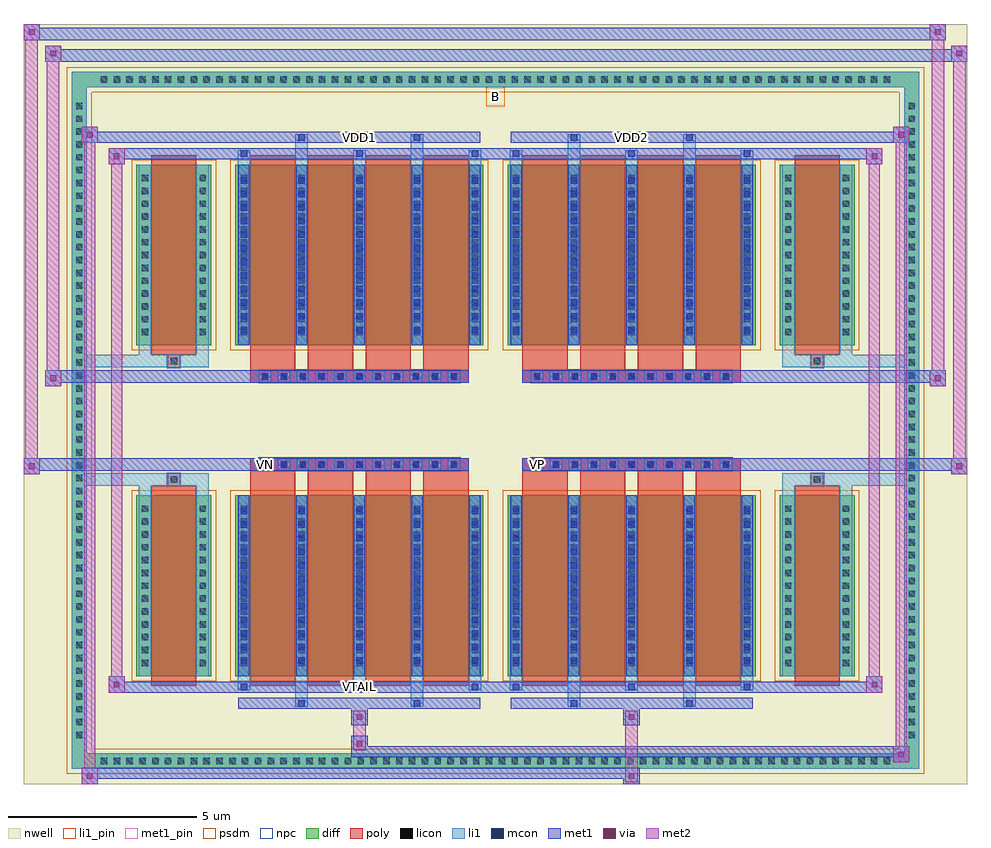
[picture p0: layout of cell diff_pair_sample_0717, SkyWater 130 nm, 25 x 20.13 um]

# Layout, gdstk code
import gdstk
lib = gdstk.Library(unit=1e-6, precision=5e-09)
def R(c, l, rs):  # rectangles x0, y0, x1, y1
    for r in rs: c.add(gdstk.rectangle(r[:2], r[2:], *l))
def A(c, l, x, y, w, h, nx, ny, dx, dy):  # array of equal rectangles
    R(c, l, [(x+i*dx, y+j*dy, x+i*dx+w, y+j*dy+h) for i in range(nx) for j in range(ny)])
def P(c, l, *ps):  # polygons
    for p in ps: c.add(gdstk.Polygon(p, *l))
nwell = (64, 20)
diff = (65, 20)
poly = (66, 20)
licon = (66, 44)
li1_pin = (67, 16)
li1 = (67, 20)
mcon = (67, 44)
met1_pin = (68, 16)
met1 = (68, 20)
via = (68, 44)
met2 = (69, 20)
psdm = (94, 20)
npc = (95, 20)

diff_pair_sample_0717 = lib.new_cell('diff_pair_sample_0717')
R(diff_pair_sample_0717, nwell, [(-12.5,-9.63,12.5,10.5), (-9.82,-7.82,-0.01,-0.8), (0.01,-7.82,9.82,-0.8), (-9.82,0.8,-0.01,7.82), (0.01,0.8,9.82,7.82)])
A(diff_pair_sample_0717, diff, -10.575, -9.23, 0.41, 0.41, 62, 2, 0.34, 18.05)
A(diff_pair_sample_0717, diff, -11.23, -8.535, 0.41, 0.41, 1, 50, 0, 0.34)
A(diff_pair_sample_0717, diff, 10.82, -8.535, 0.41, 0.41, 1, 50, 0, 0.34)
R(diff_pair_sample_0717, diff, [(-10.575,-9.23,10.575,-8.82), (-11.23,-8.535,-10.82,8.535), (10.82,-8.535,11.23,8.535), (-9.51,-6.775,-7.53,-1.985), (-6.89,-6.775,-0.32,-1.985), (0.32,-6.775,6.89,-1.985), (7.53,-6.775,9.51,-1.985), (-9.51,1.985,-7.53,6.775), (-6.89,1.985,-0.32,6.775), (0.32,1.985,6.89,6.775), (7.53,1.985,9.51,6.775), (-10.575,8.82,10.575,9.23)])
P(diff_pair_sample_0717, diff, [(11.23,9.23),(-11.23,9.23),(-11.23,-8.82),(-10.82,-8.82),(-10.82,8.82),(10.82,8.82),(10.82,-8.82),(-10.82,-8.82),(-11.23,-8.82),(-11.23,-9.23),(11.23,-9.23)])
A(diff_pair_sample_0717, poly, -6.5, -7.025, 1.2, 5.29, 4, 2, 1.53, 8.76)
A(diff_pair_sample_0717, poly, 0.71, -7.025, 1.2, 5.29, 4, 2, 1.53, 8.76)
A(diff_pair_sample_0717, poly, -6.5, -1.735, 1.2, 0.405, 4, 2, 1.53, 3.065)
A(diff_pair_sample_0717, poly, 0.71, -1.735, 1.2, 0.405, 4, 2, 1.53, 3.065)
A(diff_pair_sample_0717, poly, -6.27, -1.33, 0.33, 0.33, 11, 2, 0.5, 2.33)
A(diff_pair_sample_0717, poly, 0.94, -1.33, 0.33, 0.33, 11, 2, 0.5, 2.33)
R(diff_pair_sample_0717, poly, [(-9.12,-7.025,-7.92,-1.735), (7.92,-7.025,9.12,-1.735), (-8.685,-1.735,-8.355,-1.405), (-8.685,-1.735,-8.355,-1.405), (8.355,-1.735,8.685,-1.405), (8.355,-1.735,8.685,-1.405), (-6.5,-1.33,-0.71,-1), (0.71,-1.33,6.5,-1), (-6.5,1,-0.71,1.33), (0.71,1,6.5,1.33), (-8.685,1.405,-8.355,1.735), (-8.685,1.405,-8.355,1.735), (8.355,1.405,8.685,1.735), (8.355,1.405,8.685,1.735), (-9.12,1.735,-7.92,7.025), (7.92,1.735,9.12,7.025)])
A(diff_pair_sample_0717, licon, -10.455, -9.11, 0.17, 0.17, 62, 2, 0.34, 18.05)
A(diff_pair_sample_0717, licon, -11.11, -8.415, 0.17, 0.17, 1, 50, 0, 0.34)
A(diff_pair_sample_0717, licon, 10.94, -8.415, 0.17, 0.17, 1, 50, 0, 0.34)
A(diff_pair_sample_0717, licon, -9.37, -6.505, 0.17, 0.17, 1, 13, 0, 0.34)
A(diff_pair_sample_0717, licon, -7.84, -6.505, 0.17, 0.17, 1, 13, 0, 0.34)
A(diff_pair_sample_0717, licon, -6.75, -6.505, 0.17, 0.17, 5, 13, 1.53, 0.34)
A(diff_pair_sample_0717, licon, 0.46, -6.505, 0.17, 0.17, 5, 13, 1.53, 0.34)
A(diff_pair_sample_0717, licon, 7.67, -6.505, 0.17, 0.17, 1, 13, 0, 0.34)
A(diff_pair_sample_0717, licon, 9.2, -6.505, 0.17, 0.17, 1, 13, 0, 0.34)
A(diff_pair_sample_0717, licon, -6.19, -1.25, 0.17, 0.17, 11, 2, 0.5, 2.33)
A(diff_pair_sample_0717, licon, 1.02, -1.25, 0.17, 0.17, 11, 2, 0.5, 2.33)
A(diff_pair_sample_0717, licon, -9.37, 2.255, 0.17, 0.17, 1, 13, 0, 0.34)
A(diff_pair_sample_0717, licon, -7.84, 2.255, 0.17, 0.17, 1, 13, 0, 0.34)
A(diff_pair_sample_0717, licon, -6.75, 2.255, 0.17, 0.17, 5, 13, 1.53, 0.34)
A(diff_pair_sample_0717, licon, 0.46, 2.255, 0.17, 0.17, 5, 13, 1.53, 0.34)
A(diff_pair_sample_0717, licon, 7.67, 2.255, 0.17, 0.17, 1, 13, 0, 0.34)
A(diff_pair_sample_0717, licon, 9.2, 2.255, 0.17, 0.17, 1, 13, 0, 0.34)
R(diff_pair_sample_0717, licon, [(-8.605,-1.655,-8.435,-1.485), (8.435,-1.655,8.605,-1.485), (-8.605,1.485,-8.435,1.655), (8.435,1.485,8.605,1.655)])
R(diff_pair_sample_0717, li1_pin, [(-0.25,8.32,0.25,8.82)])
A(diff_pair_sample_0717, li1, -10.535, -9.19, 0.33, 0.33, 62, 2, 0.34, 18.05)
A(diff_pair_sample_0717, li1, -11.19, -8.495, 0.33, 0.33, 1, 50, 0, 0.34)
A(diff_pair_sample_0717, li1, 10.86, -8.495, 0.33, 0.33, 1, 50, 0, 0.34)
A(diff_pair_sample_0717, li1, -6.83, -7.15, 0.33, 0.375, 3, 2, 3.06, 13.925)
A(diff_pair_sample_0717, li1, -6.75, -7.15, 0.17, 0.17, 3, 2, 3.06, 14.13)
A(diff_pair_sample_0717, li1, 0.38, -7.15, 0.33, 0.375, 3, 2, 3.06, 13.925)
A(diff_pair_sample_0717, li1, 0.46, -7.15, 0.17, 0.17, 3, 2, 3.06, 14.13)
A(diff_pair_sample_0717, li1, -6.83, -6.775, 0.33, 4.79, 5, 2, 1.53, 8.76)
A(diff_pair_sample_0717, li1, 0.38, -6.775, 0.33, 4.79, 5, 2, 1.53, 8.76)
A(diff_pair_sample_0717, li1, -9.45, -6.585, 0.33, 0.33, 1, 13, 0, 0.34)
A(diff_pair_sample_0717, li1, -7.92, -6.585, 0.33, 0.33, 1, 13, 0, 0.34)
A(diff_pair_sample_0717, li1, -6.83, -6.585, 0.33, 0.33, 5, 13, 1.53, 0.34)
A(diff_pair_sample_0717, li1, 0.38, -6.585, 0.33, 0.33, 5, 13, 1.53, 0.34)
A(diff_pair_sample_0717, li1, 7.59, -6.585, 0.33, 0.33, 1, 13, 0, 0.34)
A(diff_pair_sample_0717, li1, 9.12, -6.585, 0.33, 0.33, 1, 13, 0, 0.34)
A(diff_pair_sample_0717, li1, -6.75, -6.445, 0.17, 0.17, 5, 12, 1.53, 0.36)
A(diff_pair_sample_0717, li1, -6.75, -6.445, 0.17, 4.13, 5, 2, 1.53, 8.76)
A(diff_pair_sample_0717, li1, 0.46, -6.445, 0.17, 0.17, 5, 12, 1.53, 0.36)
A(diff_pair_sample_0717, li1, 0.46, -6.445, 0.17, 4.13, 5, 2, 1.53, 8.76)
A(diff_pair_sample_0717, li1, -6.27, -1.33, 0.33, 0.33, 11, 2, 0.5, 2.33)
A(diff_pair_sample_0717, li1, 0.94, -1.33, 0.33, 0.33, 11, 2, 0.5, 2.33)
A(diff_pair_sample_0717, li1, -9.45, 2.175, 0.33, 0.33, 1, 13, 0, 0.34)
A(diff_pair_sample_0717, li1, -7.92, 2.175, 0.33, 0.33, 1, 13, 0, 0.34)
A(diff_pair_sample_0717, li1, -6.83, 2.175, 0.33, 0.33, 5, 13, 1.53, 0.34)
A(diff_pair_sample_0717, li1, 0.38, 2.175, 0.33, 0.33, 5, 13, 1.53, 0.34)
A(diff_pair_sample_0717, li1, 7.59, 2.175, 0.33, 0.33, 1, 13, 0, 0.34)
A(diff_pair_sample_0717, li1, 9.12, 2.175, 0.33, 0.33, 1, 13, 0, 0.34)
A(diff_pair_sample_0717, li1, -6.75, 2.315, 0.17, 0.17, 5, 12, 1.53, 0.36)
A(diff_pair_sample_0717, li1, 0.46, 2.315, 0.17, 0.17, 5, 12, 1.53, 0.36)
R(diff_pair_sample_0717, li1, [(-11.23,-9.23,-10.82,-8.82), (-11.23,-9.23,-10.82,-8.82), (-10.82,-9.23,10.82,-8.82), (10.82,-9.23,11.23,-8.82), (10.82,-9.23,11.23,-8.82), (-11.23,-8.82,-10.82,8.82), (10.82,-8.82,11.23,8.82), (-5.3,-7.58,-4.97,-6.775), (-5.22,-7.58,-5.05,-7.41), (-2.24,-7.58,-1.91,-6.775), (-2.16,-7.58,-1.99,-7.41), (1.91,-7.58,2.24,-6.775), (1.99,-7.58,2.16,-7.41), (4.97,-7.58,5.3,-6.775), (5.05,-7.58,5.22,-7.41), (-9.45,-6.775,-9.12,-1.985), (-7.92,-6.775,-7.59,-1.985), (7.59,-6.775,7.92,-1.985), (9.12,-6.775,9.45,-1.985), (-9.45,-1.985,-9.12,-1.405), (-7.92,-1.985,-7.59,-1.405), (7.59,-1.985,7.92,-1.405), (9.12,-1.985,9.45,-1.405), (-11.23,-1.735,-8.685,-1.405), (-9.45,-1.735,-8.685,-1.405), (-8.685,-1.735,-8.355,-1.405), (-8.355,-1.735,-7.59,-1.405), (7.59,-1.735,8.355,-1.405), (8.355,-1.735,8.685,-1.405), (8.355,-1.735,11.23,-1.405), (8.685,-1.735,9.45,-1.405), (-11.23,1.405,-8.685,1.735), (-9.45,1.405,-8.685,1.735), (-9.45,1.405,-9.12,1.985), (-8.685,1.405,-8.355,1.735), (-8.355,1.405,-7.59,1.735), (-7.92,1.405,-7.59,1.985), (7.59,1.405,8.355,1.735), (7.59,1.405,7.92,1.985), (8.355,1.405,8.685,1.735), (8.355,1.405,11.23,1.735), (8.685,1.405,9.45,1.735), (9.12,1.405,9.45,1.985), (-9.45,1.985,-9.12,6.775), (-7.92,1.985,-7.59,6.775), (7.59,1.985,7.92,6.775), (9.12,1.985,9.45,6.775), (-5.3,6.775,-4.97,7.58), (-2.24,6.775,-1.91,7.58), (1.91,6.775,2.24,7.58), (4.97,6.775,5.3,7.58), (-5.22,7.41,-5.05,7.58), (-2.16,7.41,-1.99,7.58), (1.99,7.41,2.16,7.58), (5.05,7.41,5.22,7.58), (-11.23,8.82,-10.82,9.23), (-11.23,8.82,-10.82,9.23), (-10.82,8.82,10.82,9.23), (10.82,8.82,11.23,9.23), (10.82,8.82,11.23,9.23)])
A(diff_pair_sample_0717, mcon, -6.75, -7.15, 0.17, 0.17, 3, 2, 3.06, 14.13)
A(diff_pair_sample_0717, mcon, 0.46, -7.15, 0.17, 0.17, 3, 2, 3.06, 14.13)
A(diff_pair_sample_0717, mcon, -6.75, -6.445, 0.17, 0.17, 5, 12, 1.53, 0.36)
A(diff_pair_sample_0717, mcon, 0.46, -6.445, 0.17, 0.17, 5, 12, 1.53, 0.36)
A(diff_pair_sample_0717, mcon, -6.19, -1.25, 0.17, 0.17, 11, 2, 0.5, 2.33)
A(diff_pair_sample_0717, mcon, 1.02, -1.25, 0.17, 0.17, 11, 2, 0.5, 2.33)
A(diff_pair_sample_0717, mcon, -6.75, 2.315, 0.17, 0.17, 5, 12, 1.53, 0.36)
A(diff_pair_sample_0717, mcon, 0.46, 2.315, 0.17, 0.17, 5, 12, 1.53, 0.36)
R(diff_pair_sample_0717, mcon, [(-5.22,-7.58,-5.05,-7.41), (-2.16,-7.58,-1.99,-7.41), (1.99,-7.58,2.16,-7.41), (5.05,-7.58,5.22,-7.41), (-5.22,7.41,-5.05,7.58), (-2.16,7.41,-1.99,7.58), (1.99,7.41,2.16,7.58), (5.05,7.41,5.22,7.58)])
R(diff_pair_sample_0717, met1_pin, [(-3.74,-7.19,-3.47,-6.92), (-6.24,-1.29,-5.97,-1.02), (0.97,-1.29,1.24,-1.02), (-3.74,7.37,-3.47,7.64), (3.47,7.37,3.74,7.64)])
A(diff_pair_sample_0717, met1, -6.81, -7.21, 0.29, 0.29, 3, 2, 3.06, 14.13)
A(diff_pair_sample_0717, met1, 0.4, -7.21, 0.29, 0.29, 3, 2, 3.06, 14.13)
A(diff_pair_sample_0717, met1, -6.81, -6.775, 0.29, 4.79, 5, 2, 1.53, 8.76)
A(diff_pair_sample_0717, met1, 0.4, -6.775, 0.29, 4.79, 5, 2, 1.53, 8.76)
A(diff_pair_sample_0717, met1, -6.81, -6.505, 0.29, 0.29, 5, 12, 1.53, 0.36)
A(diff_pair_sample_0717, met1, 0.4, -6.505, 0.29, 0.29, 5, 12, 1.53, 0.36)
A(diff_pair_sample_0717, met1, -6.25, -1.31, 0.29, 0.29, 11, 2, 0.5, 2.33)
A(diff_pair_sample_0717, met1, 0.96, -1.31, 0.29, 0.29, 11, 2, 0.5, 2.33)
A(diff_pair_sample_0717, met1, -6.81, 2.255, 0.29, 0.29, 5, 12, 1.53, 0.36)
A(diff_pair_sample_0717, met1, 0.4, 2.255, 0.29, 0.29, 5, 12, 1.53, 0.36)
R(diff_pair_sample_0717, met1, [(-10.96,-9.63,-10.53,-9.2), (3.39,-9.63,3.82,-9.2), (-10.96,-9.49,3.82,-9.2), (10.53,-9.06,10.96,-8.63), (-3.82,-8.92,10.96,-8.63), (-3.82,-8.78,-3.39,-8.35), (-3.82,-8.07,-3.39,-7.64), (3.39,-8.07,3.82,-7.64), (-6.81,-7.64,-0.4,-7.35), (-5.28,-7.64,-4.99,-7.35), (-2.22,-7.64,-1.93,-7.35), (0.4,-7.64,6.81,-7.35), (1.93,-7.64,2.22,-7.35), (4.99,-7.64,5.28,-7.35), (-10.25,-7.21,-9.82,-6.78), (-10.25,-7.21,-6.81,-6.92), (-6.81,-7.21,-0.4,-6.92), (-0.4,-7.21,0.4,-6.92), (0.4,-7.21,6.81,-6.92), (6.81,-7.21,10.25,-6.92), (9.82,-7.21,10.25,-6.78), (-12.5,-1.43,-12.07,-1), (12.07,-1.43,12.5,-1), (-12.5,-1.33,-0.71,-1), (-6.5,-1.33,-0.71,-1), (0.71,-1.33,6.5,-1), (0.71,-1.33,12.5,-1), (-11.93,0.9,-11.5,1.33), (11.5,0.9,11.93,1.33), (-11.93,1,-6.5,1.33), (-6.5,1,-0.71,1.33), (0.71,1,6.5,1.33), (6.5,1,11.93,1.33), (-10.25,6.78,-9.82,7.21), (9.82,6.78,10.25,7.21), (-10.25,6.92,-6.81,7.21), (-6.81,6.92,-0.4,7.21), (-0.4,6.92,0.4,7.21), (0.4,6.92,6.81,7.21), (6.81,6.92,10.25,7.21), (-10.96,7.35,-10.53,7.78), (-10.96,7.35,-6.81,7.64), (-6.81,7.35,-0.4,7.64), (-5.28,7.35,-4.99,7.64), (-2.22,7.35,-1.93,7.64), (0.4,7.35,6.81,7.64), (1.93,7.35,2.22,7.64), (4.99,7.35,5.28,7.64), (6.81,7.35,10.96,7.64), (10.53,7.35,10.96,7.78), (-11.93,9.5,-11.5,9.93), (-11.93,9.5,-9.82,9.83), (-9.82,9.5,9.82,9.83), (9.82,9.5,12.5,9.83), (12.07,9.5,12.5,9.93), (-12.5,10.07,-12.07,10.5), (-12.5,10.07,-9.82,10.4), (-9.82,10.07,9.82,10.4), (9.82,10.07,11.93,10.4), (11.5,10.07,11.93,10.5)])
R(diff_pair_sample_0717, via, [(-10.82,-9.49,-10.67,-9.34), (3.53,-9.49,3.68,-9.34), (10.67,-8.92,10.82,-8.77), (-3.68,-8.64,-3.53,-8.49), (-3.68,-7.93,-3.53,-7.78), (3.53,-7.93,3.68,-7.78), (-10.11,-7.07,-9.96,-6.92), (9.96,-7.07,10.11,-6.92), (-12.36,-1.29,-12.21,-1.14), (12.21,-1.29,12.36,-1.14), (-11.79,1.04,-11.64,1.19), (11.64,1.04,11.79,1.19), (-10.11,6.92,-9.96,7.07), (9.96,6.92,10.11,7.07), (-10.82,7.49,-10.67,7.64), (10.67,7.49,10.82,7.64), (-11.79,9.64,-11.64,9.79), (12.21,9.64,12.36,9.79), (-12.36,10.21,-12.21,10.36), (11.64,10.21,11.79,10.36)])
R(diff_pair_sample_0717, met2, [(-10.96,-9.63,-10.53,-9.2), (-10.89,-9.63,-10.6,7.78), (-10.6,-9.63,-10.53,-9.2), (-10.91,-9.58,-10.58,-9.25), (3.44,-9.58,3.77,-9.25), (3.44,-9.25,3.77,-8.02), (10.53,-9.06,10.96,-8.63), (10.6,-9.06,10.89,7.78), (10.89,-9.06,10.96,-8.63), (10.58,-9.01,10.91,-8.68), (-3.77,-8.73,-3.44,-8.4), (-3.77,-8.4,-3.44,-8.02), (-3.77,-8.02,-3.44,-7.69), (3.44,-8.02,3.77,-7.69), (-10.25,-7.21,-9.82,-6.78), (-10.18,-7.21,-9.89,7.21), (-9.89,-7.21,-9.82,-6.78), (9.82,-7.21,10.25,-6.78), (9.89,-7.21,10.18,7.21), (10.18,-7.21,10.25,-6.78), (-10.2,-7.16,-9.87,-6.83), (9.87,-7.16,10.2,-6.83), (-12.5,-1.43,-12.07,-1), (-12.45,-1.43,-12.12,10.5), (-12.12,-1.43,-12.07,-1), (12.07,-1.43,12.5,-1), (12.12,-1.43,12.45,9.93), (12.45,-1.43,12.5,-1), (-12.45,-1.38,-12.12,-1.05), (12.12,-1.38,12.45,-1.05), (-11.93,0.9,-11.5,1.33), (-11.88,0.9,-11.55,9.93), (-11.55,0.9,-11.5,1.33), (11.5,0.9,11.93,1.33), (11.55,0.9,11.88,10.5), (11.88,0.9,11.93,1.33), (-11.88,0.95,-11.55,1.28), (11.55,0.95,11.88,1.28), (-10.25,6.78,-9.82,7.21), (-9.89,6.78,-9.82,7.21), (9.82,6.78,10.25,7.21), (10.18,6.78,10.25,7.21), (-10.2,6.83,-9.87,7.16), (9.87,6.83,10.2,7.16), (-10.96,7.35,-10.53,7.78), (-10.6,7.35,-10.53,7.78), (10.53,7.35,10.96,7.78), (10.89,7.35,10.96,7.78), (-10.91,7.4,-10.58,7.73), (10.58,7.4,10.91,7.73), (-11.93,9.5,-11.5,9.93), (-11.55,9.5,-11.5,9.93), (12.07,9.5,12.5,9.93), (12.45,9.5,12.5,9.93), (-11.88,9.55,-11.55,9.88), (12.12,9.55,12.45,9.88), (-12.5,10.07,-12.07,10.5), (-12.12,10.07,-12.07,10.5), (11.5,10.07,11.93,10.5), (11.88,10.07,11.93,10.5), (-12.45,10.12,-12.12,10.45), (11.55,10.12,11.88,10.45)])
R(diff_pair_sample_0717, psdm, [(-9.64,-6.905,-7.4,-1.855), (-7.02,-6.905,-0.19,-1.855), (0.19,-6.905,7.02,-1.855), (7.4,-6.905,9.64,-1.855), (-9.64,1.855,-7.4,6.905), (-7.02,1.855,-0.19,6.905), (0.19,1.855,7.02,6.905), (7.4,1.855,9.64,6.905)])
P(diff_pair_sample_0717, psdm, [(11.36,9.36),(-11.36,9.36),(-11.36,-8.69),(-10.69,-8.69),(-10.69,8.69),(10.69,8.69),(10.69,-8.69),(-10.69,-8.69),(-11.36,-8.69),(-11.36,-9.36),(11.36,-9.36)])
A(diff_pair_sample_0717, npc, -6.29, -1.35, 0.37, 0.37, 11, 2, 0.5, 2.33)
A(diff_pair_sample_0717, npc, 0.92, -1.35, 0.37, 0.37, 11, 2, 0.5, 2.33)
R(diff_pair_sample_0717, npc, [(-8.705,-1.755,-8.335,-1.385), (8.335,-1.755,8.705,-1.385), (-6.29,-1.35,-5.42,-0.98), (-6.29,-1.35,-5.42,-0.98), (-5.79,-1.35,-4.92,-0.98), (-5.79,-1.35,-4.92,-0.98), (-5.29,-1.35,-4.42,-0.98), (-5.29,-1.35,-4.42,-0.98), (-4.79,-1.35,-3.92,-0.98), (-4.79,-1.35,-3.92,-0.98), (-4.29,-1.35,-3.42,-0.98), (-4.29,-1.35,-3.42,-0.98), (-3.79,-1.35,-2.92,-0.98), (-3.79,-1.35,-2.92,-0.98), (-3.29,-1.35,-2.42,-0.98), (-3.29,-1.35,-2.42,-0.98), (-2.79,-1.35,-1.92,-0.98), (-2.79,-1.35,-1.92,-0.98), (-2.29,-1.35,-1.42,-0.98), (-2.29,-1.35,-1.42,-0.98), (-1.79,-1.35,-0.92,-0.98), (-1.79,-1.35,-0.92,-0.98), (0.92,-1.35,1.79,-0.98), (0.92,-1.35,1.79,-0.98), (1.42,-1.35,2.29,-0.98), (1.42,-1.35,2.29,-0.98), (1.92,-1.35,2.79,-0.98), (1.92,-1.35,2.79,-0.98), (2.42,-1.35,3.29,-0.98), (2.42,-1.35,3.29,-0.98), (2.92,-1.35,3.79,-0.98), (2.92,-1.35,3.79,-0.98), (3.42,-1.35,4.29,-0.98), (3.42,-1.35,4.29,-0.98), (3.92,-1.35,4.79,-0.98), (3.92,-1.35,4.79,-0.98), (4.42,-1.35,5.29,-0.98), (4.42,-1.35,5.29,-0.98), (4.92,-1.35,5.79,-0.98), (4.92,-1.35,5.79,-0.98), (5.42,-1.35,6.29,-0.98), (5.42,-1.35,6.29,-0.98), (-6.29,0.98,-5.42,1.35), (-6.29,0.98,-5.42,1.35), (-5.79,0.98,-4.92,1.35), (-5.79,0.98,-4.92,1.35), (-5.29,0.98,-4.42,1.35), (-5.29,0.98,-4.42,1.35), (-4.79,0.98,-3.92,1.35), (-4.79,0.98,-3.92,1.35), (-4.29,0.98,-3.42,1.35), (-4.29,0.98,-3.42,1.35), (-3.79,0.98,-2.92,1.35), (-3.79,0.98,-2.92,1.35), (-3.29,0.98,-2.42,1.35), (-3.29,0.98,-2.42,1.35), (-2.79,0.98,-1.92,1.35), (-2.79,0.98,-1.92,1.35), (-2.29,0.98,-1.42,1.35), (-2.29,0.98,-1.42,1.35), (-1.79,0.98,-0.92,1.35), (-1.79,0.98,-0.92,1.35), (0.92,0.98,1.79,1.35), (0.92,0.98,1.79,1.35), (1.42,0.98,2.29,1.35), (1.42,0.98,2.29,1.35), (1.92,0.98,2.79,1.35), (1.92,0.98,2.79,1.35), (2.42,0.98,3.29,1.35), (2.42,0.98,3.29,1.35), (2.92,0.98,3.79,1.35), (2.92,0.98,3.79,1.35), (3.42,0.98,4.29,1.35), (3.42,0.98,4.29,1.35), (3.92,0.98,4.79,1.35), (3.92,0.98,4.79,1.35), (4.42,0.98,5.29,1.35), (4.42,0.98,5.29,1.35), (4.92,0.98,5.79,1.35), (4.92,0.98,5.79,1.35), (5.42,0.98,6.29,1.35), (5.42,0.98,6.29,1.35), (-8.705,1.385,-8.335,1.755), (8.335,1.385,8.705,1.755)])
diff_pair_sample_0717.add(gdstk.Label('VTAIL', (-3.605,-7.055), layer=68, texttype=5))
diff_pair_sample_0717.add(gdstk.Label('VN', (-6.105,-1.155), layer=68, texttype=5))
diff_pair_sample_0717.add(gdstk.Label('VP', (1.105,-1.155), layer=68, texttype=5))
diff_pair_sample_0717.add(gdstk.Label('B', (0,8.57), layer=67, texttype=5))
diff_pair_sample_0717.add(gdstk.Label('VDD2', (3.605,7.505), layer=68, texttype=5))
diff_pair_sample_0717.add(gdstk.Label('VDD1', (-3.605,7.505), layer=68, texttype=5))

lib.write_gds('diff_pair_sample_0717.gds')
